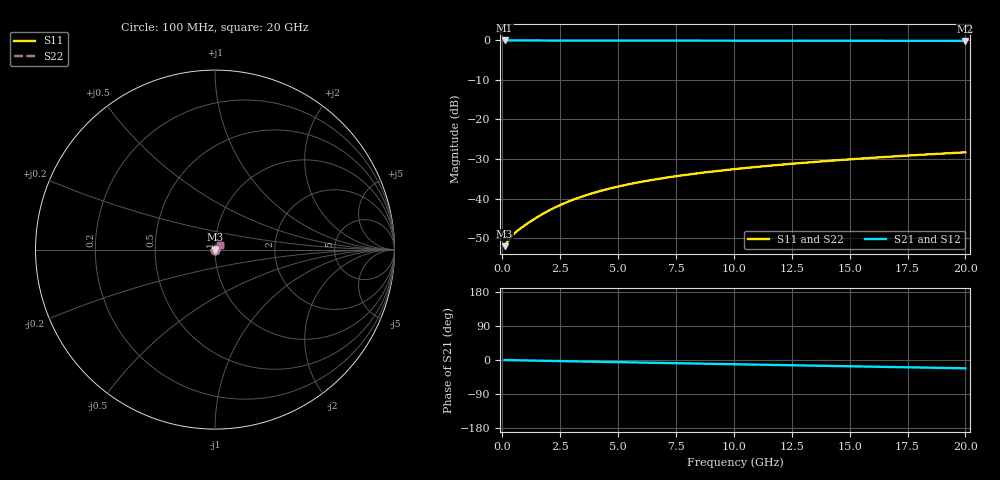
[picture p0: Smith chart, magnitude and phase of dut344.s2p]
! Touchstone file exported from HFSS 2026.1.0
!  File:  C:/ffzhzh/LocalFiles/Ansys_Project_Files/temp_train_TMRDL_344_1783003868_4048.aedt
!  Generated:  10:52:21 PM Jul  2, 2026
!  Design:  TMRDL
!  Project:  temp_train_TMRDL_344_1783003868_4048
! Variables:
!  h_bsmrdl = 2um
!  h_ox = 20um
!  h_rdl = 5um
!  h_sub = 80um
!  h_tmrdl = 5.21um
!  h_tsv = 80um
!  h_via = 3um
!  l_bsmrdl = 300um
!  l_sub = 797.97um
!  l_tmrdl = 397.97um
!  m_sub = 200um
!  pitch = 16.51um
!  r_tsv = 6um
!  s_tmrdl = 10um
!  w_bsmrdl = 18um
!  w_sub = 500um
!  w_tmrdl = 11.63um
!  x_tsv_center1 = 403.785um
!  x_tsv_center2 = 721.785um
!  x_tsv_center3 = 1131.385um
!  x_tsv_center4 = 1449.385um
!  x_tsv_center5 = 1858.985um
!  x_tsv_center6 = 2176.985um
# GHz S MA R 50.000000
! Terminal data exported
! Port[1] = TM_RDL1_1_T1
! Port[2] = TM_RDL1_1_T2
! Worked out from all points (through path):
!   200 points, 100 MHz to 20 GHz, reference 50 ohm
!   highest |S21| = -0.02 dB at 100 MHz (marker M1); lowest = -0.1 dB at 20 GHz (marker M2)
!   group delay of S21, straight-line fit = 3.03 ps
!   lowest |S11| = -52.0 dB at 100 MHz (marker M3), VSWR 1.01, Z = 50.2 + j0.0536 ohm
!   |S11| at or under -10 dB: start of sweep to end of sweep
!   |S22| runs from -52.0 to -28.3 dB; largest |S21 - S12| = 2.6e-15
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0.1  0.002504 12.3  0.9976 -0.1  0.9976 -0.1  0.002504 12.3
! Gamma 0 0 0 0
! Port Impedance 50 0 50 0
0.3  0.003089 25.5  0.9972 -0.4  0.9972 -0.4  0.003089 25.5
0.4  0.003357 28.8  0.9971 -0.5  0.9971 -0.5  0.003357 28.8
0.5  0.003593 31.5  0.997 -0.6  0.997 -0.6  0.003593 31.5
0.7  0.004021 36.3  0.9968 -0.8  0.9968 -0.8  0.004021 36.3
0.9  0.004441 40.5  0.9967 -1.1  0.9967 -1.1  0.004441 40.5
1.4  0.005565 48.4  0.9964 -1.6  0.9964 -1.6  0.005564 48.4
1.9  0.006782 53.2  0.9961 -2.2  0.9961 -2.2  0.006781 53.2
2.4  0.008036 56.1  0.9958 -2.8  0.9958 -2.8  0.008036 56.1
2.9  0.009289 57.7  0.9955 -3.3  0.9955 -3.3  0.009288 57.7
3.5  0.01076 58.6  0.995 -4.0  0.995 -4.0  0.01076 58.6
4.2  0.01241 58.9  0.9944 -4.8  0.9944 -4.8  0.01241 58.9
5  0.0142 58.7  0.9938 -5.7  0.9938 -5.7  0.0142 58.7
5.9  0.01609 58.2  0.9931 -6.7  0.9931 -6.7  0.01608 58.2
6.8  0.01786 57.5  0.9924 -7.7  0.9924 -7.7  0.01786 57.6
8.3  0.02062 56.4  0.9913 -9.3  0.9913 -9.3  0.02062 56.4
10.1  0.0237 55.0  0.9902 -11.3  0.9902 -11.3  0.02369 55.1
11.7  0.02629 53.8  0.9893 -13.0  0.9893 -13.0  0.02628 53.9
13.4  0.02894 52.6  0.9884 -14.8  0.9884 -14.8  0.02892 52.6
15  0.03134 51.4  0.9877 -16.5  0.9877 -16.5  0.03132 51.4
16.7  0.03383 50.0  0.9869 -18.4  0.9869 -18.4  0.0338 50.1
20  0.03846 47.4  0.9855 -21.9  0.9855 -21.9  0.03842 47.5
